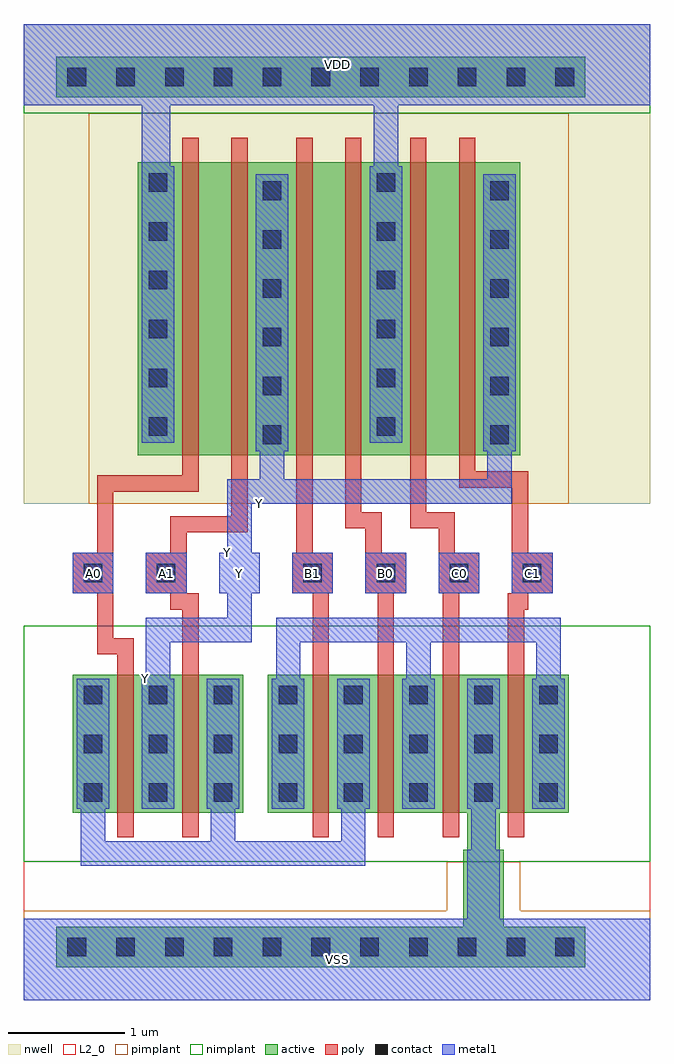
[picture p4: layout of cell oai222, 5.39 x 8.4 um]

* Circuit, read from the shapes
.subckt oai222 A0 A1 B0 B1 C0 C1 VDD VSS Y
M1 Y A0 n1 VSS nfet w=1.19u l=0.14u
M2 n1 A1 Y VSS nfet w=1.19u l=0.14u
M3 n1 B1 n2 VSS nfet w=1.19u l=0.14u
M4 n2 B0 n1 VSS nfet w=1.19u l=0.14u
M5 VSS C0 n2 VSS nfet w=1.19u l=0.14u
M6 n2 C1 VSS VSS nfet w=1.19u l=0.14u
M7 n3 A0 VDD VDD pfet w=2.52u l=0.14u
M8 Y A1 n3 VDD pfet w=2.52u l=0.14u
M9 n4 B1 Y VDD pfet w=2.52u l=0.14u
M10 VDD B0 n4 VDD pfet w=2.52u l=0.14u
M11 n5 C0 VDD VDD pfet w=2.52u l=0.14u
M12 Y C1 n5 VDD pfet w=2.52u l=0.14u
.ends

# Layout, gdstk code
import gdstk
lib = gdstk.Library(unit=1e-6, precision=1e-09)
def R(c, l, rs):  # rectangles x0, y0, x1, y1
    for r in rs: c.add(gdstk.rectangle(r[:2], r[2:], *l))
def A(c, l, x, y, w, h, nx, ny, dx, dy):  # array of equal rectangles
    R(c, l, [(x+i*dx, y+j*dy, x+i*dx+w, y+j*dy+h) for i in range(nx) for j in range(ny)])
def P(c, l, *ps):  # polygons
    for p in ps: c.add(gdstk.Polygon(p, *l))
L2_0 = (2, 0)
nwell = (3, 0)
active = (6, 0)
poly = (17, 0)
pimplant = (25, 0)
nimplant = (26, 0)
contact = (30, 0)
metal1 = (31, 0)

adk_poly_m1 = lib.new_cell('ADK_poly_m1')
R(adk_poly_m1, poly, [(-0.175,-0.175,0.175,0.175)])
R(adk_poly_m1, contact, [(-0.08,-0.08,0.08,0.08)])
R(adk_poly_m1, metal1, [(-0.175,-0.175,0.175,0.175)])

oai222 = lib.new_cell('oai222')
R(oai222, L2_0, [(0,0,5.39,3.22)])
R(oai222, nwell, [(0,4.27,5.39,8.4), (0.56,4.27,4.69,7.63)])
R(oai222, active, [(0.28,0.28,4.83,0.63), (3.78,0.63,4.13,1.295), (3.815,1.295,4.095,1.61), (0.42,1.61,0.805,2.8), (0.42,1.61,1.89,2.8), (1.505,1.61,1.89,2.8), (2.1,1.61,4.69,2.8), (2.1,1.61,2.485,2.8), (4.305,1.61,4.69,2.8), (0.98,4.69,4.27,7.21), (0.98,4.69,1.365,7.21), (3.885,4.69,4.27,7.21), (0.28,7.77,4.83,8.12)])
A(oai222, poly, 2.485, 1.4, 0.14, 0.21, 4, 2, 0.56, 1.4)
A(oai222, poly, 2.485, 1.61, 0.14, 1.19, 4, 1, 0.56, 0)
A(oai222, poly, 2.485, 2.975, 0.14, 0.525, 3, 1, 0.56, 0)
R(oai222, poly, [(0.805,1.4,0.945,1.61), (1.365,1.4,1.505,1.61), (0.805,1.61,0.945,2.8), (1.365,1.61,1.505,2.8), (0.805,2.8,0.945,3.01), (1.365,2.8,1.505,3.01), (2.345,3.85,2.485,4.515), (1.365,4.48,1.505,4.69), (1.785,4.48,1.925,4.69), (2.345,4.48,2.485,4.69), (2.765,4.48,2.905,4.69), (3.325,4.48,3.465,4.69), (3.745,4.48,3.885,4.69), (1.365,4.69,1.505,7.21), (1.785,4.69,1.925,7.21), (2.345,4.69,2.485,7.21), (2.765,4.69,2.905,7.21), (3.325,4.69,3.465,7.21), (3.745,4.69,3.885,7.21), (1.365,7.21,1.505,7.42), (1.785,7.21,1.925,7.42), (2.345,7.21,2.485,7.42), (2.765,7.21,2.905,7.42), (3.325,7.21,3.465,7.42), (3.745,7.21,3.885,7.42)])
P(oai222, poly, [(3.745,4.41),(4.2,4.41),(4.2,3.85),(4.34,3.85),(4.34,4.55),(3.745,4.55)],
  [(1.26,3.85),(1.4,3.85),(1.4,4.025),(1.925,4.025),(1.925,4.515),(1.785,4.515),(1.785,4.165),(1.26,4.165)],
  [(4.165,2.975),(4.305,2.975),(4.305,3.36),(4.34,3.36),(4.34,3.5),(4.165,3.5)],
  [(2.765,4.06),(2.94,4.06),(2.94,3.85),(3.08,3.85),(3.08,4.2),(2.905,4.2),(2.905,4.515),(2.765,4.515)],
  [(0.63,2.975),(0.945,2.975),(0.945,3.115),(0.77,3.115),(0.77,3.5),(0.63,3.5)],
  [(3.325,4.06),(3.57,4.06),(3.57,3.85),(3.71,3.85),(3.71,4.2),(3.465,4.2),(3.465,4.515),(3.325,4.515)],
  [(1.26,3.36),(1.365,3.36),(1.365,2.975),(1.505,2.975),(1.505,3.5),(1.26,3.5)],
  [(0.63,3.85),(0.77,3.85),(0.77,4.375),(1.505,4.375),(1.505,4.515),(0.63,4.515)])
R(oai222, pimplant, [(0,0,5.39,0.77), (3.64,0.77,4.27,1.19), (0.56,4.27,4.69,7.63)])
R(oai222, nimplant, [(0,1.19,2.31,3.22), (1.68,1.19,5.39,3.22), (0,7.63,5.39,8.4)])
A(oai222, contact, 0.375, 0.375, 0.16, 0.16, 11, 2, 0.42, 7.49)
A(oai222, contact, 0.515, 1.705, 0.16, 0.16, 8, 3, 0.56, 0.42)
A(oai222, contact, 2.055, 4.785, 0.16, 0.16, 1, 6, 0, 0.42)
A(oai222, contact, 4.015, 4.785, 0.16, 0.16, 1, 6, 0, 0.42)
A(oai222, contact, 1.075, 4.855, 0.16, 0.16, 1, 6, 0, 0.42)
A(oai222, contact, 3.035, 4.855, 0.16, 0.16, 1, 6, 0, 0.42)
A(oai222, metal1, 0.455, 1.645, 0.28, 1.12, 8, 1, 0.56, 0)
A(oai222, metal1, 0.42, 3.5, 0.35, 0.35, 3, 1, 0.63, 0)
A(oai222, metal1, 1.68, 3.5, 0.35, 0.35, 5, 1, 0.63, 0)
R(oai222, metal1, [(0,0,5.39,0.7), (3.815,0.7,4.095,1.295), (3.85,1.295,4.06,1.645), (1.995,4.725,2.275,7.105), (3.955,4.725,4.235,7.105), (1.015,4.795,1.295,7.175), (2.975,4.795,3.255,7.175), (1.015,7.175,1.26,7.7), (3.01,7.175,3.22,7.7), (0,7.7,5.39,8.4)])
P(oai222, metal1, [(3.5,3.08),(4.41,3.08),(4.41,2.765),(4.62,2.765),(4.62,3.29),(3.5,3.29)],
  [(2.17,2.765),(2.38,2.765),(2.38,3.08),(3.29,3.08),(3.29,2.765),(3.5,2.765),(3.5,3.29),(2.17,3.29)],
  [(1.75,3.85),(1.96,3.85),(1.96,4.27),(2.03,4.27),(2.03,4.48),(1.75,4.48)],
  [(0.49,1.155),(1.82,1.155),(1.82,1.645),(1.61,1.645),(1.61,1.365),(0.7,1.365),(0.7,1.645),(0.49,1.645)],
  [(1.82,1.155),(2.94,1.155),(2.94,1.645),(2.73,1.645),(2.73,1.365),(1.82,1.365)],
  [(2.03,4.27),(4.2,4.27),(4.2,4.725),(3.99,4.725),(3.99,4.48),(2.24,4.48),(2.24,4.725),(2.03,4.725)],
  [(1.05,2.765),(1.26,2.765),(1.26,3.08),(1.96,3.08),(1.96,3.5),(1.75,3.5),(1.75,3.29),(1.05,3.29)])
oai222.add(gdstk.Reference(adk_poly_m1, (1.225,3.675)))
oai222.add(gdstk.Reference(adk_poly_m1, (4.375,3.675)))
oai222.add(gdstk.Reference(adk_poly_m1, (3.745,3.675)))
oai222.add(gdstk.Reference(adk_poly_m1, (3.115,3.675)))
oai222.add(gdstk.Reference(adk_poly_m1, (0.595,3.675)))
oai222.add(gdstk.Reference(adk_poly_m1, (2.485,3.675)))
oai222.add(gdstk.Label('VSS', (2.695,0.35), layer=131, texttype=0))
oai222.add(gdstk.Label('VDD', (2.695,8.05), layer=131, texttype=0))
oai222.add(gdstk.Label('A1', (1.225,3.675), layer=131, texttype=0))
oai222.add(gdstk.Label('C1', (4.375,3.675), layer=131, texttype=0))
oai222.add(gdstk.Label('C0', (3.745,3.675), layer=131, texttype=0))
oai222.add(gdstk.Label('B0', (3.115,3.675), layer=131, texttype=0))
oai222.add(gdstk.Label('Y', (1.855,3.675), layer=131, texttype=0))
oai222.add(gdstk.Label('B1', (2.485,3.675), layer=131, texttype=0))
oai222.add(gdstk.Label('A0', (0.595,3.675), layer=131, texttype=0))
oai222.add(gdstk.Label('VSS', (2.695,0.35), layer=31, texttype=0))
oai222.add(gdstk.Label('VDD', (2.695,8.05), layer=31, texttype=0))
oai222.add(gdstk.Label('A1', (1.225,3.675), layer=31, texttype=0))
oai222.add(gdstk.Label('C1', (4.375,3.675), layer=31, texttype=0))
oai222.add(gdstk.Label('C0', (3.745,3.675), layer=31, texttype=0))
oai222.add(gdstk.Label('B0', (3.115,3.675), layer=31, texttype=0))
oai222.add(gdstk.Label('B1', (2.485,3.675), layer=31, texttype=0))
oai222.add(gdstk.Label('A0', (0.595,3.675), layer=31, texttype=0))
oai222.add(gdstk.Label('Y', (1.05,2.765), layer=31, texttype=0))
oai222.add(gdstk.Label('Y', (1.855,3.675), layer=31, texttype=0))
oai222.add(gdstk.Label('Y', (1.75,3.85), layer=31, texttype=0))
oai222.add(gdstk.Label('Y', (2.03,4.27), layer=31, texttype=0))

lib.write_gds('oai222.gds')
